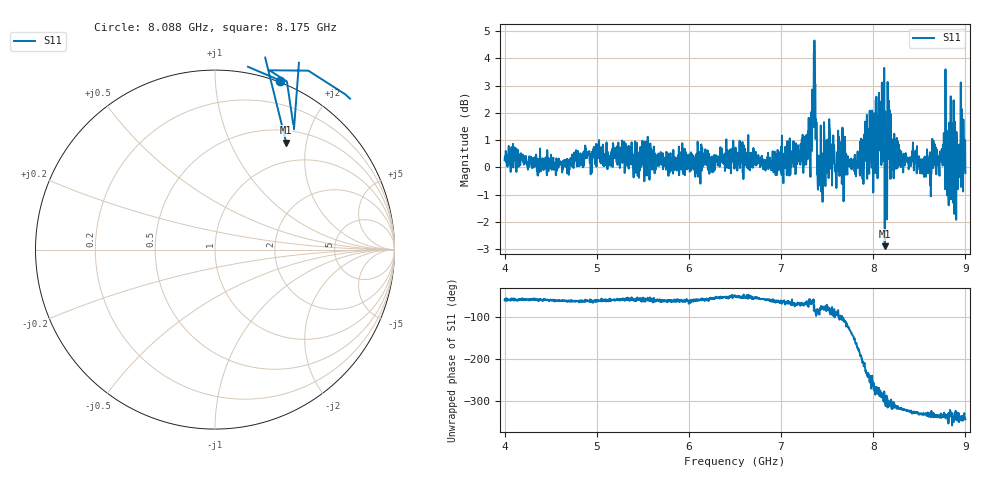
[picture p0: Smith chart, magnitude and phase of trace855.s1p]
! Created with skrf 1.8.0 (http://scikit-rf.org).
# Hz S RI R 50.0
!freq ReS11 ImS11
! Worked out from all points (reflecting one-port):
!   1601 points, 4 GHz to 9 GHz, reference 50 ohm
!   lowest |S11| = -2.9 dB at 8.125 GHz (marker M1), VSWR 6.05, Z = 33.8 + j82.8 ohm
!   phase of S11 starts at -59 deg and turns -284 deg over the sweep
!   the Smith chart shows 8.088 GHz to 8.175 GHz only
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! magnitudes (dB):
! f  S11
! 4 GHz  0.3
! 4.625 GHz  -0.2
! 5.25 GHz  0.0
! 5.875 GHz  0.1
! 6.5 GHz  0.5
! 7.125 GHz  0.5
! 7.294 GHz  1.3
! 7.328 GHz  1.5
! 7.347 GHz  2.2
! 7.359 GHz  1.5
! 7.4 GHz  -0.8
! 7.425 GHz  0.3
! 7.509 GHz  0.2
! 7.578 GHz  0.6
! 7.65 GHz  0.8
! 7.75 GHz  0.0
! 8 GHz  -0.9
! 8.088 GHz  0.1
! 8.125 GHz  -2.9
! 8.147 GHz  0.2
! 8.153 GHz  1.1
! 8.206 GHz  -0.1
! 8.375 GHz  0.3
! 8.612 GHz  0.4
! 8.775 GHz  1.2
! 8.906 GHz  0.8
! 8.959 GHz  2.1
! 9 GHz  -0.2
